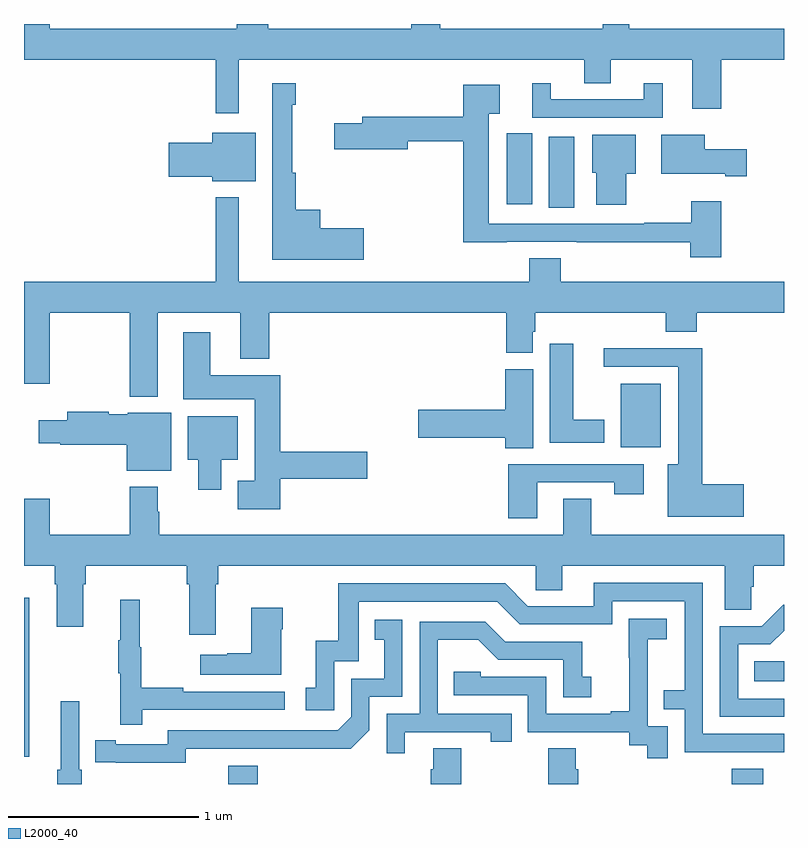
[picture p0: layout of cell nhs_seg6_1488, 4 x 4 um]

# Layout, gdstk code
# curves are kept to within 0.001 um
import gdstk
lib = gdstk.Library(unit=1e-6, precision=1e-09)
def R(c, l, rs):  # rectangles x0, y0, x1, y1
    for r in rs: c.add(gdstk.rectangle(r[:2], r[2:], *l))
def P(c, l, *ps):  # polygons
    for p in ps: c.add(gdstk.Polygon(p, *l))
L2000_40 = (2000, 40)

nhs_seg6_1488 = lib.new_cell('nhs_seg6_1488')
R(nhs_seg6_1488, L2000_40, [(202.076,967.5,202.229,967.597), (204.725,967.5,204.89,967.579), (201,967.644,201.028,968.479), (204.844,968.042,205,968.146), (204.14,969.272,204.352,969.607), (203.762,970.534,203.896,970.906), (203.54,970.551,203.674,970.926)])
P(nhs_seg6_1488, L2000_40, [(202.129,971.312),(203.948,971.312),(203.948,971.188),(204.088,971.188),(204.088,971.312),(204.518,971.312),(204.518,971.055),(204.671,971.055),(204.671,971.312),(205,971.312),(205,971.476),(204.186,971.476),(204.186,971.5),(204.047,971.5),(204.047,971.476),(203.191,971.476),(203.191,971.5),(203.039,971.5),(203.039,971.476),(202.286,971.476),(202.286,971.5),(202.121,971.5),(202.121,971.476),(201.136,971.476),(201.136,971.5),(201,971.5),(201,971.312),(202.008,971.312),(202.008,971.031),(202.129,971.031)],
  [(202.789,970.425),(202.558,970.425),(202.558,970.522),(202.429,970.522),(202.429,970.718),(202.411,970.718),(202.411,971.075),(202.429,971.075),(202.429,971.188),(202.307,971.188),(202.307,970.259),(202.789,970.259)],
  [(204.361,971.188),(204.263,971.188),(204.263,971.103),(203.773,971.103),(203.773,971.188),(203.675,971.188),(203.675,971.007),(204.361,971.007)],
  [(204.671,970.567),(204.511,970.567),(204.511,970.454),(204.265,970.454),(204.265,970.449),(203.446,970.449),(203.446,971.027),(203.503,971.027),(203.503,971.179),(203.312,971.179),(203.312,971.011),(202.781,971.011),(202.781,970.977),(202.632,970.977),(202.632,970.84),(203.02,970.84),(203.02,970.882),(203.312,970.882),(203.312,970.352),(203.542,970.352),(203.542,970.353),(203.908,970.353),(203.908,970.352),(204.506,970.352),(204.506,970.272),(204.671,970.272)],
  [(202.219,970.927),(201.992,970.927),(201.992,970.875),(201.762,970.875),(201.762,970.697),(201.992,970.697),(201.992,970.673),(202.219,970.673)],
  [(204.169,970.712),(204.22,970.712),(204.22,970.918),(203.99,970.918),(203.99,970.716),(204.011,970.716),(204.011,970.548),(204.169,970.548)],
  [(204.805,970.842),(204.583,970.842),(204.583,970.918),(204.353,970.918),(204.353,970.712),(204.692,970.712),(204.692,970.7),(204.805,970.7)],
  [(203.825,970.268),(203.66,970.268),(203.66,970.144),(202.129,970.144),(202.129,970.588),(202.008,970.588),(202.008,970.144),(201,970.144),(201,969.606),(201.136,969.606),(201.136,969.98),(201.556,969.98),(201.556,969.539),(201.703,969.539),(201.703,969.98),(202.139,969.98),(202.139,969.737),(202.292,969.737),(202.292,969.98),(203.537,969.98),(203.537,969.769),(203.677,969.769),(203.677,969.879),(203.69,969.879),(203.69,969.98),(204.377,969.98),(204.377,969.881),(204.542,969.881),(204.542,969.98),(205,969.98),(205,970.144),(203.825,970.144)],
  [(202.349,969.106),(202.807,969.106),(202.807,969.248),(202.349,969.248),(202.349,969.652),(201.979,969.652),(201.979,969.877),(201.839,969.877),(201.839,969.524),(202.214,969.524),(202.214,969.097),(202.124,969.097),(202.124,968.945),(202.349,968.945)],
  [(204.055,969.418),(203.89,969.418),(203.89,969.817),(203.768,969.817),(203.768,969.296),(204.055,969.296)],
  [(204.787,969.077),(204.569,969.077),(204.569,969.794),(204.051,969.794),(204.051,969.696),(204.443,969.696),(204.443,969.184),(204.389,969.184),(204.389,968.906),(204.787,968.906)],
  [(203.68,969.684),(203.534,969.684),(203.534,969.47),(203.076,969.47),(203.076,969.323),(203.534,969.323),(203.534,969.268),(203.68,969.268)],
  [(201.775,969.454),(201.546,969.454),(201.546,969.445),(201.446,969.445),(201.446,969.458),(201.227,969.458),(201.227,969.415),(201.078,969.415),(201.078,969.293),(201.19,969.293),(201.19,969.286),(201.542,969.286),(201.542,969.149),(201.775,969.149)],
  [(202.039,969.206),(202.126,969.206),(202.126,969.436),(201.863,969.436),(201.863,969.206),(201.917,969.206),(201.917,969.048),(202.039,969.048)],
  [(203.701,969.087),(204.106,969.087),(204.106,969.024),(204.262,969.024),(204.262,969.183),(203.549,969.183),(203.549,968.898),(203.701,968.898)],
  [(202.009,968.552),(202.022,968.552),(202.022,968.648),(203.694,968.648),(203.694,968.521),(203.833,968.521),(203.833,968.648),(204.689,968.648),(204.689,968.416),(204.828,968.416),(204.828,968.539),(204.842,968.539),(204.842,968.648),(205,968.648),(205,968.812),(203.985,968.812),(203.985,969.002),(203.837,969.002),(203.837,968.812),(201.711,968.812),(201.711,968.933),(201.703,968.933),(201.703,969.064),(201.556,969.064),(201.556,968.812),(201.136,968.812),(201.136,969.001),(201,969.001),(201,968.648),(201.161,968.648),(201.161,968.552),(201.173,968.552),(201.173,968.328),(201.313,968.328),(201.313,968.552),(201.326,968.552),(201.326,968.648),(201.857,968.648),(201.857,968.552),(201.869,968.552),(201.869,968.286),(202.009,968.286)],
  [(205,967.764),(204.573,967.764),(204.573,968.559),(203.999,968.559),(203.999,968.436),(203.652,968.436),(203.532,968.556),(202.653,968.556),(202.653,968.254),(202.535,968.254),(202.535,968.007),(202.482,968.007),(202.482,967.887),(202.632,967.887),(202.632,968.145),(202.761,968.145),(202.761,968.46),(203.49,968.46),(203.61,968.34),(204.096,968.34),(204.096,968.463),(204.477,968.463),(204.477,967.994),(204.367,967.994),(204.367,967.893),(204.477,967.893),(204.477,967.668),(205,967.667)],
  [(201.623,967.89),(202.372,967.89),(202.372,967.986),(201.839,967.986),(201.839,968.006),(201.616,968.006),(201.616,968.22),(201.608,968.22),(201.608,968.47),(201.506,968.47),(201.506,968.257),(201.495,968.257),(201.495,968.083),(201.506,968.083),(201.506,967.812),(201.623,967.812)],
  [(205,967.95),(204.759,967.95),(204.759,968.235),(204.928,968.235),(205,968.307),(205,968.444),(204.995,968.444),(204.882,968.331),(204.663,968.331),(204.663,967.854),(205,967.854)],
  [(202.354,968.315),(202.362,968.315),(202.362,968.428),(202.196,968.428),(202.196,968.189),(202.07,968.189),(202.07,968.179),(201.927,968.179),(201.927,968.075),(202.354,968.075)],
  [(204.387,967.803),(204.282,967.803),(204.282,968.033),(204.284,968.033),(204.284,968.261),(204.382,968.261),(204.382,968.371),(204.184,968.371),(204.184,968.165),(204.185,968.165),(204.185,967.882),(204.089,967.882),(204.089,967.869),(203.748,967.869),(203.748,968.064),(203.403,968.064),(203.403,968.091),(203.263,968.091),(203.263,967.968),(203.652,967.968),(203.652,967.773),(204.186,967.773),(204.186,967.705),(204.279,967.705),(204.279,967.635),(204.387,967.635)],
  [(201.852,967.686),(202.72,967.685),(202.818,967.782),(202.818,967.959),(202.992,967.959),(202.992,968.365),(202.846,968.365),(202.846,968.259),(202.895,968.259),(202.895,968.055),(202.722,968.055),(202.722,967.854),(202.65,967.782),(201.756,967.782),(201.756,967.71),(201.484,967.71),(201.484,967.73),(201.376,967.73),(201.376,967.614),(201.852,967.613)],
  [(203.005,967.773),(203.456,967.773),(203.456,967.722),(203.567,967.722),(203.567,967.869),(203.178,967.869),(203.178,968.258),(203.392,968.258),(203.496,968.154),(203.838,968.154),(203.838,967.956),(203.986,967.956),(203.986,968.065),(203.937,968.065),(203.937,968.25),(203.533,968.25),(203.428,968.355),(203.082,968.355),(203.082,967.869),(202.908,967.869),(202.908,967.662),(203.005,967.662)],
  [(201.305,967.576),(201.291,967.576),(201.291,967.936),(201.194,967.936),(201.194,967.576),(201.175,967.576),(201.175,967.5),(201.305,967.5)],
  [(203.301,967.688),(203.153,967.688),(203.153,967.578),(203.141,967.578),(203.141,967.5),(203.301,967.5)],
  [(203.918,967.578),(203.905,967.578),(203.905,967.688),(203.758,967.688),(203.758,967.5),(203.918,967.5)])

lib.write_gds('nhs_seg6_1488.gds')
